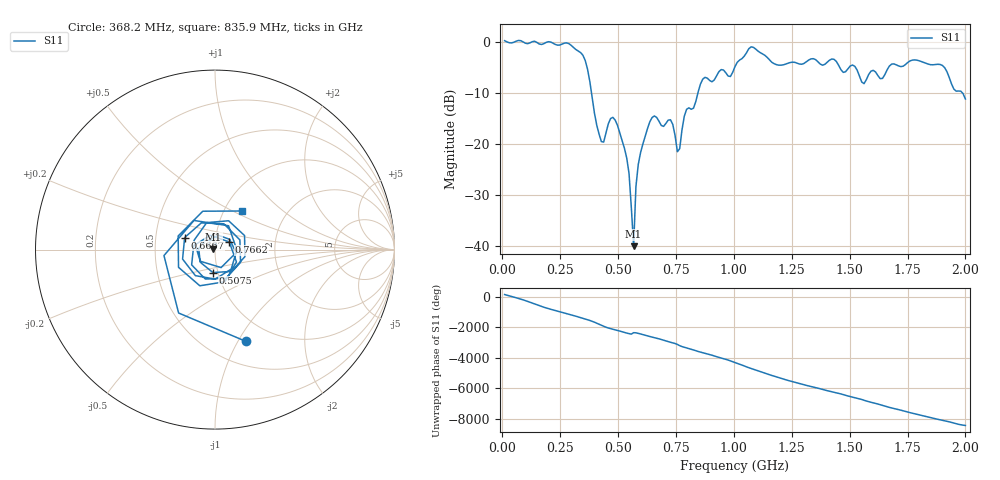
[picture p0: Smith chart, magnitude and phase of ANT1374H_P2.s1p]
!Created with skrf (http://scikit-rf.org).
# Hz S RI R 50.0
!freq ReS11 ImS11
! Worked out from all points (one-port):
!   201 points, 10 MHz to 2 GHz, reference 50 ohm
!   lowest |S11| = -40.0 dB at 567.2 MHz (marker M1), VSWR 1.02, Z = 49.1 + j0.344 ohm
!   |S11| at or under -10 dB: 385.3 MHz to 844.9 MHz (459.6 MHz wide, 74.7 % of centre); 1.987 GHz to end of sweep
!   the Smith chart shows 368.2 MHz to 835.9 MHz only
!   S11 on the Smith chart (normalised r, x): 368.2 MHz: 0.75, -1.08; 507.5 MHz: 0.95, -0.25; 666.7 MHz: 0.71, +0.10; 766.2 MHz: 1.17, +0.10; 835.9 MHz: 1.21, +0.56
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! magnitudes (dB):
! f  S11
! 10 MHz  0.2
! 258.8 MHz  -0.4
! 338.4 MHz  -2.1
! 368.2 MHz  -5.4
! 427.9 MHz  -19.5
! 477.6 MHz  -14.8
! 507.5 MHz  -17.8
! 547.3 MHz  -25.7
! 567.2 MHz  -40.0
! 577.1 MHz  -28.3
! 587.1 MHz  -24.0
! 636.9 MHz  -15.7
! 666.7 MHz  -14.8
! 726.4 MHz  -15.3
! 756.2 MHz  -21.5
! 766.2 MHz  -20.9
! 796 MHz  -13.2
! 835.9 MHz  -11.7
! 865.7 MHz  -7.3
! 1.005 GHz  -4.8
! 1.075 GHz  -1.0
! 1.254 GHz  -4.0
! 1.502 GHz  -4.7
! 1.562 GHz  -8.2
! 1.592 GHz  -5.8
! 1.751 GHz  -4.0
! 1.901 GHz  -4.6
! 2 GHz  -11.2
